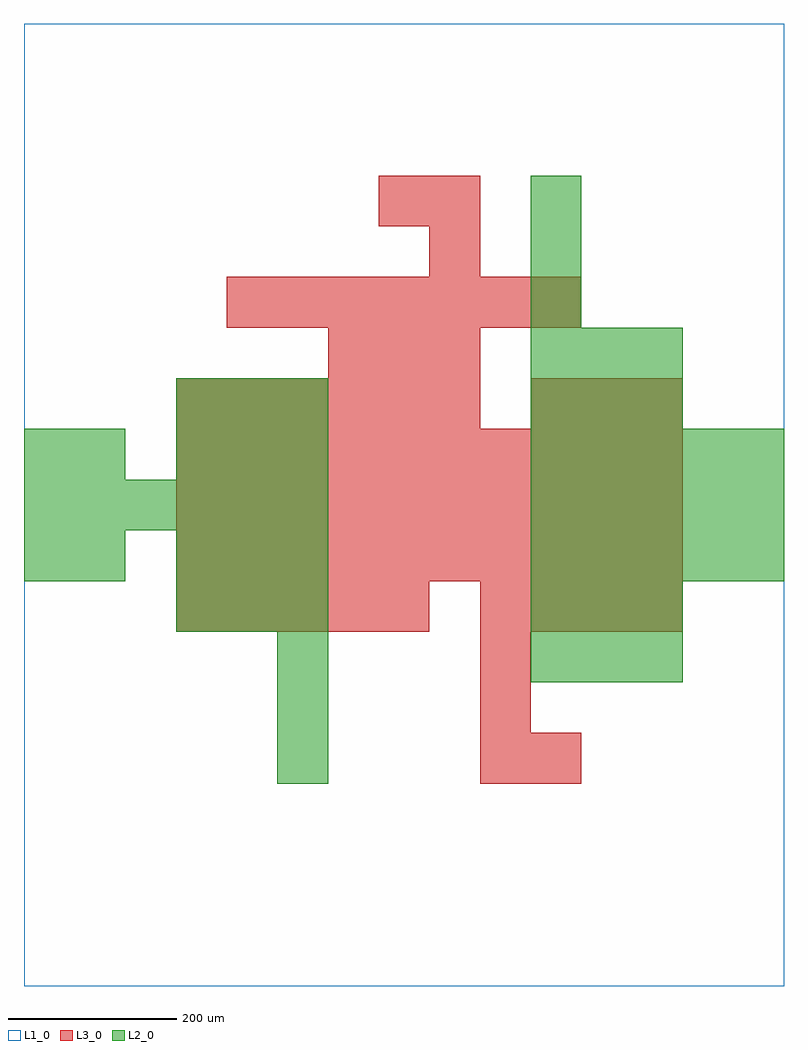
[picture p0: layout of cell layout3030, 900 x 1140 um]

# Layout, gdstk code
import gdstk
lib = gdstk.Library(unit=1e-6, precision=1e-09)
def R(c, l, rs):  # rectangles x0, y0, x1, y1
    for r in rs: c.add(gdstk.rectangle(r[:2], r[2:], *l))
def A(c, l, x, y, w, h, nx, ny, dx, dy):  # array of equal rectangles
    R(c, l, [(x+i*dx, y+j*dy, x+i*dx+w, y+j*dy+h) for i in range(nx) for j in range(ny)])
L1_0 = (1, 0)
L2_0 = (2, 0)
L3_0 = (3, 0)

layout3030 = lib.new_cell('layout3030')
R(layout3030, L1_0, [(0,0,900,1140)])
A(layout3030, L2_0, 300, 240, 60, 60, 1, 3, 0, 60)
A(layout3030, L2_0, 600, 360, 60, 60, 3, 2, 60, 60)
A(layout3030, L2_0, 180, 420, 60, 60, 3, 2, 60, 60)
A(layout3030, L2_0, 600, 480, 60, 60, 5, 3, 60, 60)
A(layout3030, L2_0, 0, 540, 60, 60, 6, 1, 60, 0)
A(layout3030, L2_0, 180, 600, 60, 60, 3, 2, 60, 60)
A(layout3030, L2_0, 600, 660, 60, 60, 3, 2, 60, 60)
A(layout3030, L2_0, 600, 780, 60, 60, 1, 3, 0, 60)
R(layout3030, L2_0, [(0,480,60,540), (60,480,120,540), (0,600,60,660), (60,600,120,660)])
A(layout3030, L3_0, 540, 240, 60, 60, 1, 3, 0, 60)
A(layout3030, L3_0, 180, 420, 60, 60, 5, 1, 60, 0)
A(layout3030, L3_0, 540, 420, 60, 60, 4, 1, 60, 0)
A(layout3030, L3_0, 180, 480, 60, 60, 10, 3, 60, 60)
A(layout3030, L3_0, 180, 660, 60, 60, 6, 1, 60, 0)
A(layout3030, L3_0, 600, 660, 60, 60, 3, 1, 60, 0)
A(layout3030, L3_0, 360, 720, 60, 60, 3, 1, 60, 0)
A(layout3030, L3_0, 240, 780, 60, 60, 7, 1, 60, 0)
R(layout3030, L3_0, [(600,240,660,300), (480,840,540,900), (420,900,480,960), (480,900,540,960)])

lib.write_gds('layout3030.gds')
